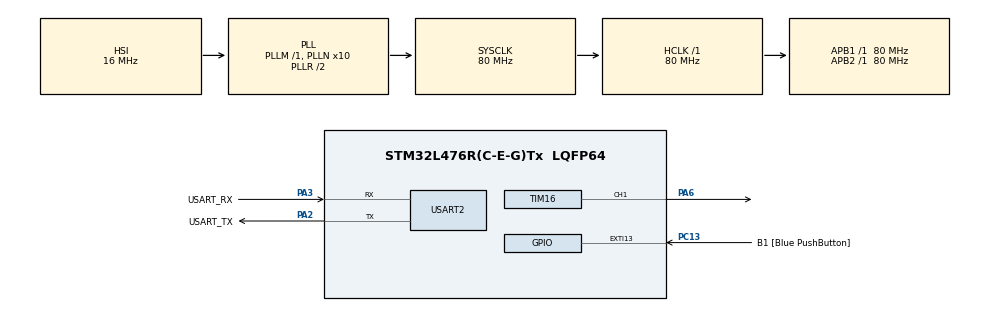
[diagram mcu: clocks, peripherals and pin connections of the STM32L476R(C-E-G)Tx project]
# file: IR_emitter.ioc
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Mcu.Family=STM32L4
Mcu.Name=STM32L476R(C-E-G)Tx
Mcu.Package=LQFP64
NVIC.PriorityGroup=NVIC_PRIORITYGROUP_4
NVIC.TIM2_IRQn=true\:0\:0\:false\:false\:true\:true\:true\:true
PA13\ (JTMS-SWDIO).GPIO_Label=TMS
PA13\ (JTMS-SWDIO).Mode=Serial_Wire
PA13\ (JTMS-SWDIO).Signal=SYS_JTMS-SWDIO
PA14\ (JTCK-SWCLK).GPIO_Label=TCK
PA14\ (JTCK-SWCLK).Mode=Serial_Wire
PA14\ (JTCK-SWCLK).Signal=SYS_JTCK-SWCLK
PA2.GPIO_Label=USART_TX
PA2.GPIO_Mode=GPIO_MODE_AF_PP
PA2.GPIO_PuPd=GPIO_NOPULL
PA2.GPIO_Speed=GPIO_SPEED_FREQ_VERY_HIGH
PA2.Mode=Asynchronous
PA2.Signal=USART2_TX
PA3.GPIO_Label=USART_RX
PA3.GPIO_Mode=GPIO_MODE_AF_PP
PA3.GPIO_PuPd=GPIO_NOPULL
PA3.GPIO_Speed=GPIO_SPEED_FREQ_VERY_HIGH
PA3.Mode=Asynchronous
PA3.Signal=USART2_RX
PA5.GPIO_PuPd=GPIO_NOPULL
PA5.Signal=S_TIM2_CH1
PA6.Signal=S_TIM16_CH1
PB3\ (JTDO-TRACESWO).GPIO_Label=SWO
PB3\ (JTDO-TRACESWO).Signal=SYS_JTDO-SWO
PC13.GPIO_Label=B1 [Blue PushButton]
PC13.GPIO_ModeDefaultEXTI=GPIO_MODE_IT_FALLING
PC13.GPIO_PuPd=GPIO_NOPULL
PC13.Signal=GPXTI13
PC14-OSC32_IN\ (PC14).Mode=LSE-External-Oscillator
PC14-OSC32_IN\ (PC14).Signal=RCC_OSC32_IN
PC15-OSC32_OUT\ (PC15).Mode=LSE-External-Oscillator
PC15-OSC32_OUT\ (PC15).Signal=RCC_OSC32_OUT
PH0-OSC_IN\ (PH0).Signal=RCC_OSC_IN
PH1-OSC_OUT\ (PH1).Signal=RCC_OSC_OUT
ProjectManager.HeapSize=0x200
ProjectManager.StackSize=0x400
ProjectManager.TargetToolchain=STM32CubeIDE
RCC.ADCFreq_Value=64000000
RCC.AHBFreq_Value=80000000
RCC.APB1Freq_Value=80000000
RCC.APB1TimFreq_Value=80000000
RCC.APB2Freq_Value=80000000
RCC.APB2TimFreq_Value=80000000
RCC.CortexFreq_Value=80000000
RCC.HCLKFreq_Value=80000000
RCC.HSE_VALUE=8000000
RCC.HSI_VALUE=16000000
RCC.MSI_VALUE=4000000
RCC.PLLN=10
RCC.PLLSourceVirtual=RCC_PLLSOURCE_HSI
RCC.PREFETCH_ENABLE=1
RCC.SYSCLKFreq_VALUE=80000000
RCC.SYSCLKSource=RCC_SYSCLKSOURCE_PLLCLK
RCC.USBFreq_Value=64000000
RCC.VCOOutputFreq_Value=160000000
SH.S_TIM16_CH1.0=TIM16_CH1,PWM Generation1 CH1
SH.S_TIM2_CH1.0=TIM2_CH1
TIM1.Period=10000
TIM1.Prescaler=8000-1
TIM16.Channel=TIM_CHANNEL_1
TIM16.Period=2104-1
TIM16.Prescaler=1-1
TIM2.AutoReloadPreload=TIM_AUTORELOAD_PRELOAD_DISABLE
TIM2.Period=4294967295
TIM2.Prescaler=80-1
TIM5.Prescaler=80-1
USART2.VirtualMode-Asynchronous=VM_ASYNC
VP_TIM16_VS_ClockSourceINT.Mode=Enable_Timer
VP_TIM1_VS_ClockSourceINT.Mode=Internal
VP_TIM2_VS_ClockSourceINT.Mode=Internal
VP_TIM5_VS_ClockSourceINT.Mode=Internal
board=NUCLEO-L476RG

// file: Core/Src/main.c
/* USER CODE BEGIN Header */
/**
  ******************************************************************************
  * @file           : main.c
  * @brief          : Main program body
  ******************************************************************************
  * @attention
  *
  * Copyright (c) 2024 STMicroelectronics.
  * All rights reserved.
  *
  * This software is licensed under terms that can be found in the LICENSE file
  * in the root directory of this software component.
  * If no LICENSE file comes with this software, it is provided AS-IS.
  *
  ******************************************************************************
  */
/* USER CODE END Header */
#include "main.h"

/* USER CODE BEGIN Includes */
#include <stdio.h>
#include <stdlib.h>
#include "stm32l4xx.h"
/* USER CODE END Includes */

/* USER CODE BEGIN PD */
#ifdef __GNUC__
#define PUTCHAR_PROTOTYPE int __io_putchar(int ch)
#define GETCHAR_PROTOTYPE int __io_getchar(void)
#else
#define PUTCHAR_PROTOTYPE int fputc(int ch, FILE *f)
#define GETCHAR_PROTOTYPE int fgetc(FILE *f)
#endif

/* USER CODE END PD */

TIM_HandleTypeDef htim1;
TIM_HandleTypeDef htim2;
TIM_HandleTypeDef htim5;
TIM_HandleTypeDef htim16;

UART_HandleTypeDef huart2;

void SystemClock_Config(void);
static void MX_GPIO_Init(void);
static void MX_USART2_UART_Init(void);
static void MX_TIM2_Init(void);
static void MX_TIM1_Init(void);
static void MX_TIM16_Init(void);
static void MX_TIM5_Init(void);
/* USER CODE BEGIN PFP */
PUTCHAR_PROTOTYPE
{
  HAL_UART_Transmit(&huart2, (uint8_t *)&ch, 1, HAL_MAX_DELAY);
  return ch;
}
/* USER CODE END PFP */

/* USER CODE BEGIN 0 */
uint32_t last_capture = 0;
uint32_t period_length = 0;
float period[500];

void HAL_TIM_IC_CaptureCallback(TIM_HandleTypeDef *htim) {

    if (htim->Channel == HAL_TIM_ACTIVE_CHANNEL_1) {
        uint32_t capture_value = HAL_TIM_ReadCapturedValue(htim, TIM_CHANNEL_1);

        float pulse_duration = (float)(capture_value-last_capture)/1000;

        last_capture = capture_value;

        if (pulse_duration>1000){
        	period_length = 0;
        }
        else {
        	period[period_length]=pulse_duration;
        	period_length+=1;
        }

    }
}

void delayMicroseconds(int delay){
	int startingValue = TIM5->CNT;
	int readValue = startingValue;
	while(readValue-startingValue<delay){
		readValue =TIM5->CNT;
	}
}

void sendBit1() {
    // Start PWM for 536 µs for logic "1" pulse
    HAL_TIM_PWM_Start(&htim16, TIM_CHANNEL_1);
    delayMicroseconds(562);

    // Stop PWM to represent "off" period of 1.6 ms
    HAL_TIM_PWM_Stop(&htim16, TIM_CHANNEL_1);
    delayMicroseconds(3*562);  // (3 * 536 µs)
}

void sendBit0() {
    // Start PWM for 536 µs for logic "0" pulse
    HAL_TIM_PWM_Start(&htim16, TIM_CHANNEL_1);
    delayMicroseconds(562);  // Custom microsecond delay function

    // Stop PWM to represent "off" period of 536 µs
    HAL_TIM_PWM_Stop(&htim16, TIM_CHANNEL_1);
    delayMicroseconds(562);  // Same low duration as the pulse for "0"
}

void sendNecData(uint32_t data) {

    // NEC Start pulse: 9 ms carrier, 4.5 ms space
    HAL_TIM_PWM_Start(&htim16, TIM_CHANNEL_1);
    delayMicroseconds(9000);  // 9 ms "on" for start pulse
    HAL_TIM_PWM_Stop(&htim16, TIM_CHANNEL_1);
    delayMicroseconds(4500);  // 4.5 ms "off" period

    // Transmit 32 bits of data
    for (int i = 0; i < 32; i++) {

        if (data & (1UL << (31 - i))) {

            sendBit1();

        } else {

            sendBit0();

        }
    }

    // End pulse: 536 µs burst to signify end of data
    HAL_TIM_PWM_Start(&htim16, TIM_CHANNEL_1);
    delayMicroseconds(536);
    HAL_TIM_PWM_Stop(&htim16, TIM_CHANNEL_1);
}

/* USER CODE END 0 */

int main(void)
{

  /* MCU Configuration--------------------------------------------------------*/

  /* Reset of all peripherals, Initializes the Flash interface and the Systick. */
  HAL_Init();

  /* Configure the system clock */
  SystemClock_Config();

  /* Initialize all configured peripherals */
  MX_GPIO_Init();
  MX_USART2_UART_Init();
  MX_TIM2_Init();
  MX_TIM1_Init();
  MX_TIM16_Init();
  MX_TIM5_Init();
  /* USER CODE BEGIN 2 */
  printf("\n\n\r Starting\n\n\r");

  __HAL_TIM_SET_COUNTER(&htim5, 0);  // Reset the counter to 0
  HAL_TIM_Base_Start(&htim5);

  HAL_TIM_Base_Start(&htim16);
  TIM16->CCR1 = 1052;
  HAL_TIM_PWM_Start(&htim16, TIM_CHANNEL_1);
  /* USER CODE END 2 */

  /* Infinite loop */
  /* USER CODE BEGIN WHILE */
  while (1)
  {
	  HAL_Delay(1000);
	  uint32_t data = 5;
	  sendNecData(data);

    /* USER CODE END WHILE */

  }
}

void SystemClock_Config(void)
{
  RCC_OscInitTypeDef RCC_OscInitStruct = {0};
  RCC_ClkInitTypeDef RCC_ClkInitStruct = {0};

  /** Configure the main internal regulator output voltage
  */
  if (HAL_PWREx_ControlVoltageScaling(PWR_REGULATOR_VOLTAGE_SCALE1) != HAL_OK)
  {
    Error_Handler();
  }

  /** Initializes the RCC Oscillators according to the specified parameters
  * in the RCC_OscInitTypeDef structure.
  */
  RCC_OscInitStruct.OscillatorType = RCC_OSCILLATORTYPE_HSI;
  RCC_OscInitStruct.HSIState = RCC_HSI_ON;
  RCC_OscInitStruct.HSICalibrationValue = RCC_HSICALIBRATION_DEFAULT;
  RCC_OscInitStruct.PLL.PLLState = RCC_PLL_ON;
  RCC_OscInitStruct.PLL.PLLSource = RCC_PLLSOURCE_HSI;
  RCC_OscInitStruct.PLL.PLLM = 1;
  RCC_OscInitStruct.PLL.PLLN = 10;
  RCC_OscInitStruct.PLL.PLLP = RCC_PLLP_DIV7;
  RCC_OscInitStruct.PLL.PLLQ = RCC_PLLQ_DIV2;
  RCC_OscInitStruct.PLL.PLLR = RCC_PLLR_DIV2;
  if (HAL_RCC_OscConfig(&RCC_OscInitStruct) != HAL_OK)
  {
    Error_Handler();
  }

  /** Initializes the CPU, AHB and APB buses clocks
  */
  RCC_ClkInitStruct.ClockType = RCC_CLOCKTYPE_HCLK|RCC_CLOCKTYPE_SYSCLK
                              |RCC_CLOCKTYPE_PCLK1|RCC_CLOCKTYPE_PCLK2;
  RCC_ClkInitStruct.SYSCLKSource = RCC_SYSCLKSOURCE_PLLCLK;
  RCC_ClkInitStruct.AHBCLKDivider = RCC_SYSCLK_DIV1;
  RCC_ClkInitStruct.APB1CLKDivider = RCC_HCLK_DIV1;
  RCC_ClkInitStruct.APB2CLKDivider = RCC_HCLK_DIV1;

  if (HAL_RCC_ClockConfig(&RCC_ClkInitStruct, FLASH_LATENCY_4) != HAL_OK)
  {
    Error_Handler();
  }
}

static void MX_TIM1_Init(void)
{

  TIM_ClockConfigTypeDef sClockSourceConfig = {0};
  TIM_MasterConfigTypeDef sMasterConfig = {0};

  htim1.Instance = TIM1;
  htim1.Init.Prescaler = 8000-1;
  htim1.Init.CounterMode = TIM_COUNTERMODE_UP;
  htim1.Init.Period = 10000;
  htim1.Init.ClockDivision = TIM_CLOCKDIVISION_DIV1;
  htim1.Init.RepetitionCounter = 0;
  htim1.Init.AutoReloadPreload = TIM_AUTORELOAD_PRELOAD_DISABLE;
  if (HAL_TIM_Base_Init(&htim1) != HAL_OK)
  {
    Error_Handler();
  }
  sClockSourceConfig.ClockSource = TIM_CLOCKSOURCE_INTERNAL;
  if (HAL_TIM_ConfigClockSource(&htim1, &sClockSourceConfig) != HAL_OK)
  {
    Error_Handler();
  }
  sMasterConfig.MasterOutputTrigger = TIM_TRGO_RESET;
  sMasterConfig.MasterOutputTrigger2 = TIM_TRGO2_RESET;
  sMasterConfig.MasterSlaveMode = TIM_MASTERSLAVEMODE_DISABLE;
  if (HAL_TIMEx_MasterConfigSynchronization(&htim1, &sMasterConfig) != HAL_OK)
  {
    Error_Handler();
  }

}

static void MX_TIM2_Init(void)
{

  TIM_ClockConfigTypeDef sClockSourceConfig = {0};
  TIM_MasterConfigTypeDef sMasterConfig = {0};

  htim2.Instance = TIM2;
  htim2.Init.Prescaler = 80-1;
  htim2.Init.CounterMode = TIM_COUNTERMODE_UP;
  htim2.Init.Period = 4294967295;
  htim2.Init.ClockDivision = TIM_CLOCKDIVISION_DIV1;
  htim2.Init.AutoReloadPreload = TIM_AUTORELOAD_PRELOAD_DISABLE;
  if (HAL_TIM_Base_Init(&htim2) != HAL_OK)
  {
    Error_Handler();
  }
  sClockSourceConfig.ClockSource = TIM_CLOCKSOURCE_INTERNAL;
  if (HAL_TIM_ConfigClockSource(&htim2, &sClockSourceConfig) != HAL_OK)
  {
    Error_Handler();
  }
  sMasterConfig.MasterOutputTrigger = TIM_TRGO_RESET;
  sMasterConfig.MasterSlaveMode = TIM_MASTERSLAVEMODE_DISABLE;
  if (HAL_TIMEx_MasterConfigSynchronization(&htim2, &sMasterConfig) != HAL_OK)
  {
    Error_Handler();
  }

}

static void MX_TIM5_Init(void)
{

  TIM_ClockConfigTypeDef sClockSourceConfig = {0};
  TIM_MasterConfigTypeDef sMasterConfig = {0};

  htim5.Instance = TIM5;
  htim5.Init.Prescaler = 80-1;
  htim5.Init.CounterMode = TIM_COUNTERMODE_UP;
  htim5.Init.Period = 4294967295;
  htim5.Init.ClockDivision = TIM_CLOCKDIVISION_DIV1;
  htim5.Init.AutoReloadPreload = TIM_AUTORELOAD_PRELOAD_DISABLE;
  if (HAL_TIM_Base_Init(&htim5) != HAL_OK)
  {
    Error_Handler();
  }
  sClockSourceConfig.ClockSource = TIM_CLOCKSOURCE_INTERNAL;
  if (HAL_TIM_ConfigClockSource(&htim5, &sClockSourceConfig) != HAL_OK)
  {
    Error_Handler();
  }
  sMasterConfig.MasterOutputTrigger = TIM_TRGO_RESET;
  sMasterConfig.MasterSlaveMode = TIM_MASTERSLAVEMODE_DISABLE;
  if (HAL_TIMEx_MasterConfigSynchronization(&htim5, &sMasterConfig) != HAL_OK)
  {
    Error_Handler();
  }

}

static void MX_TIM16_Init(void)
{

  TIM_OC_InitTypeDef sConfigOC = {0};
  TIM_BreakDeadTimeConfigTypeDef sBreakDeadTimeConfig = {0};

  htim16.Instance = TIM16;
  htim16.Init.Prescaler = 1-1;
  htim16.Init.CounterMode = TIM_COUNTERMODE_UP;
  htim16.Init.Period = 2104-1;
  htim16.Init.ClockDivision = TIM_CLOCKDIVISION_DIV1;
  htim16.Init.RepetitionCounter = 0;
  htim16.Init.AutoReloadPreload = TIM_AUTORELOAD_PRELOAD_DISABLE;
  if (HAL_TIM_Base_Init(&htim16) != HAL_OK)
  {
    Error_Handler();
  }
  if (HAL_TIM_PWM_Init(&htim16) != HAL_OK)
  {
    Error_Handler();
  }
  sConfigOC.OCMode = TIM_OCMODE_PWM1;
  sConfigOC.Pulse = 0;
  sConfigOC.OCPolarity = TIM_OCPOLARITY_HIGH;
  sConfigOC.OCNPolarity = TIM_OCNPOLARITY_HIGH;
  sConfigOC.OCFastMode = TIM_OCFAST_DISABLE;
  sConfigOC.OCIdleState = TIM_OCIDLESTATE_RESET;
  sConfigOC.OCNIdleState = TIM_OCNIDLESTATE_RESET;
  if (HAL_TIM_PWM_ConfigChannel(&htim16, &sConfigOC, TIM_CHANNEL_1) != HAL_OK)
  {
    Error_Handler();
  }
  sBreakDeadTimeConfig.OffStateRunMode = TIM_OSSR_DISABLE;
  sBreakDeadTimeConfig.OffStateIDLEMode = TIM_OSSI_DISABLE;
  sBreakDeadTimeConfig.LockLevel = TIM_LOCKLEVEL_OFF;
  sBreakDeadTimeConfig.DeadTime = 0;
  sBreakDeadTimeConfig.BreakState = TIM_BREAK_DISABLE;
  sBreakDeadTimeConfig.BreakPolarity = TIM_BREAKPOLARITY_HIGH;
  sBreakDeadTimeConfig.AutomaticOutput = TIM_AUTOMATICOUTPUT_DISABLE;
  if (HAL_TIMEx_ConfigBreakDeadTime(&htim16, &sBreakDeadTimeConfig) != HAL_OK)
  {
    Error_Handler();
  }
  HAL_TIM_MspPostInit(&htim16);

}

static void MX_USART2_UART_Init(void)
{

  huart2.Instance = USART2;
  huart2.Init.BaudRate = 115200;
  huart2.Init.WordLength = UART_WORDLENGTH_8B;
  huart2.Init.StopBits = UART_STOPBITS_1;
  huart2.Init.Parity = UART_PARITY_NONE;
  huart2.Init.Mode = UART_MODE_TX_RX;
  huart2.Init.HwFlowCtl = UART_HWCONTROL_NONE;
  huart2.Init.OverSampling = UART_OVERSAMPLING_16;
  huart2.Init.OneBitSampling = UART_ONE_BIT_SAMPLE_DISABLE;
  huart2.AdvancedInit.AdvFeatureInit = UART_ADVFEATURE_NO_INIT;
  if (HAL_UART_Init(&huart2) != HAL_OK)
  {
    Error_Handler();
  }

}

static void MX_GPIO_Init(void)
{
  GPIO_InitTypeDef GPIO_InitStruct = {0};

  /* GPIO Ports Clock Enable */
  __HAL_RCC_GPIOC_CLK_ENABLE();
  __HAL_RCC_GPIOH_CLK_ENABLE();
  __HAL_RCC_GPIOA_CLK_ENABLE();
  __HAL_RCC_GPIOB_CLK_ENABLE();

  /*Configure GPIO pin : B1_Pin */
  GPIO_InitStruct.Pin = B1_Pin;
  GPIO_InitStruct.Mode = GPIO_MODE_IT_FALLING;
  GPIO_InitStruct.Pull = GPIO_NOPULL;
  HAL_GPIO_Init(B1_GPIO_Port, &GPIO_InitStruct);

}

void Error_Handler(void)
{
  __disable_irq();
  while (1)
  {
  }
}
